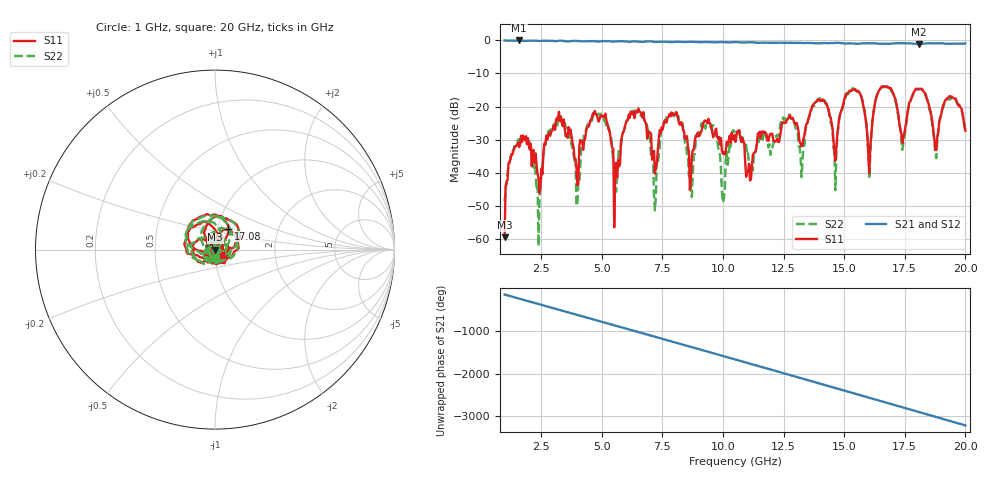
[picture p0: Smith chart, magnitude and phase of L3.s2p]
!Agilent Technologies,E8361C,US49010278,A.09.20.08
!Agilent E8361C: A.09.20.08
!Date: Tuesday, December 15, 2015 15:42:11
!Correction: S11(Full 2 Port(1,2))
!S21(Full 2 Port(1,2))
!S12(Full 2 Port(1,2))
!S22(Full 2 Port(1,2))
!S2P File: Measurements: S11, S21, S12, S22:
# Hz S  RI  R 50
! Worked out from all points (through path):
!   476 points, 1 GHz to 20 GHz, reference 50 ohm
!   highest |S21| = -0.07 dB at 1.6 GHz (marker M1); lowest = -1.1 dB at 18.08 GHz (marker M2)
!   group delay of S21, straight-line fit = 446 ps
!   lowest |S11| = -59.5 dB at 1 GHz (marker M3), VSWR 1.00, Z = 50 - j0.0998 ohm
!   |S11| at or under -10 dB: start of sweep to end of sweep
!   |S22| runs from -62.1 to -13.9 dB; largest |S21 - S12| = 0.013
!   S11 on the Smith chart (normalised r, x): 1 GHz: 1.00, -0.00; 17.08 GHz: 1.13, +0.27; 20 GHz: 1.06, -0.06
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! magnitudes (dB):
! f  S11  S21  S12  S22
! 1 GHz  -59.5  -0.1  -0.1  -48.6
! 1.6 GHz  -32.2  -0.1  -0.1  -32.0
! 2.4 GHz  -41.7  -0.2  -0.2  -62.1
! 2.96 GHz  -27.4  -0.2  -0.2  -26.8
! 4.04 GHz  -43.0  -0.3  -0.2  -43.0
! 4.2 GHz  -30.5  -0.4  -0.3  -31.3
! 7.36 GHz  -29.5  -0.5  -0.5  -34.3
! 8.12 GHz  -22.6  -0.5  -0.4  -23.1
! 8.68 GHz  -41.8  -0.5  -0.4  -44.7
! 9.56 GHz  -27.6  -0.6  -0.6  -26.1
! 10 GHz  -34.2  -0.6  -0.6  -49.0
! 10.52 GHz  -30.7  -0.6  -0.6  -27.2
! 13.28 GHz  -31.6  -0.9  -0.8  -37.4
! 13.68 GHz  -20.3  -0.9  -0.8  -19.8
! 14.64 GHz  -36.3  -0.8  -0.8  -45.2
! 15.52 GHz  -15.3  -1.1  -1.0  -15.1
! 16.04 GHz  -40.1  -0.9  -0.9  -41.9
! 16.84 GHz  -14.2  -1.1  -1.0  -14.5
! 17.08 GHz  -17.2  -1.0  -0.9  -17.4
! 17.44 GHz  -29.3  -0.9  -0.9  -31.1
! 18.08 GHz  -14.7  -1.1  -1.1  -14.8
! 20 GHz  -27.3  -1.0  -0.9  -26.9
